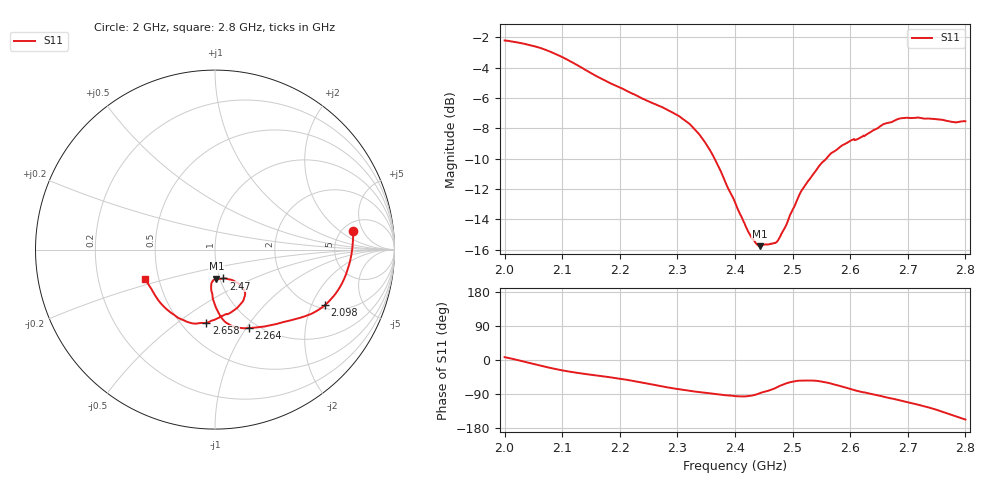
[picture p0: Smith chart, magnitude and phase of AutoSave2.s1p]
!Agilent N9923A: A.05.17
!Date: Sunday, 01 January 2006 12:11:29
!Model: N9923A
!Serial: MY50371189
!CHECKSUM:0796784445
!Correction: S11(ON U)
!S1P File: Measurement: S11:
# Hz S DB R 50
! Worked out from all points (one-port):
!   1001 points, 2 GHz to 2.8 GHz, reference 50 ohm
!   lowest |S11| = -15.8 dB at 2.443 GHz (marker M1), VSWR 1.39, Z = 48.1 - j16.1 ohm
!   |S11| at or under -10 dB: 2.365 GHz to 2.558 GHz (193.9 MHz wide, 7.88 % of centre)
!   S11 on the Smith chart (normalised r, x): 2 GHz: 6.25, +3.19; 2.098 GHz: 2.15, -2.51; 2.264 GHz: 0.91, -1.03; 2.47 GHz: 1.04, -0.34; 2.658 GHz: 0.66, -0.65; 2.8 GHz: 0.42, -0.17
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2e9  -2.21 7.5
2.0248e9  -2.35 -0.9
2.0488e9  -2.57 -9.8
2.0752e9  -2.89 -19.5
2.0984e9  -3.27 -26.9
2.1e9  -3.30 -27.4
2.1344e9  -4.02 -35.7
2.2e9  -5.30 -49.2
2.264e9  -6.45 -66.7
2.3e9  -7.12 -76.6
2.324e9  -7.81 -82.0
2.3488e9  -8.97 -86.5
2.3656e9  -10.07 -89.7
2.4e9  -12.87 -95.3
2.4264e9  -15.04 -94.5
2.4432e9  -15.76 -87.4
2.4704e9  -15.55 -73.9
2.4856e9  -14.63 -63.6
2.5e9  -13.37 -57.4
2.5168e9  -12.04 -54.5
2.548e9  -10.39 -56.4
2.5776e9  -9.38 -66.3
2.6e9  -8.83 -76.2
2.6576e9  -7.72 -96.7
2.6832e9  -7.38 -105.4
2.7e9  -7.30 -111.7
2.7472e9  -7.39 -130.1
2.8e9  -7.53 -157.3
